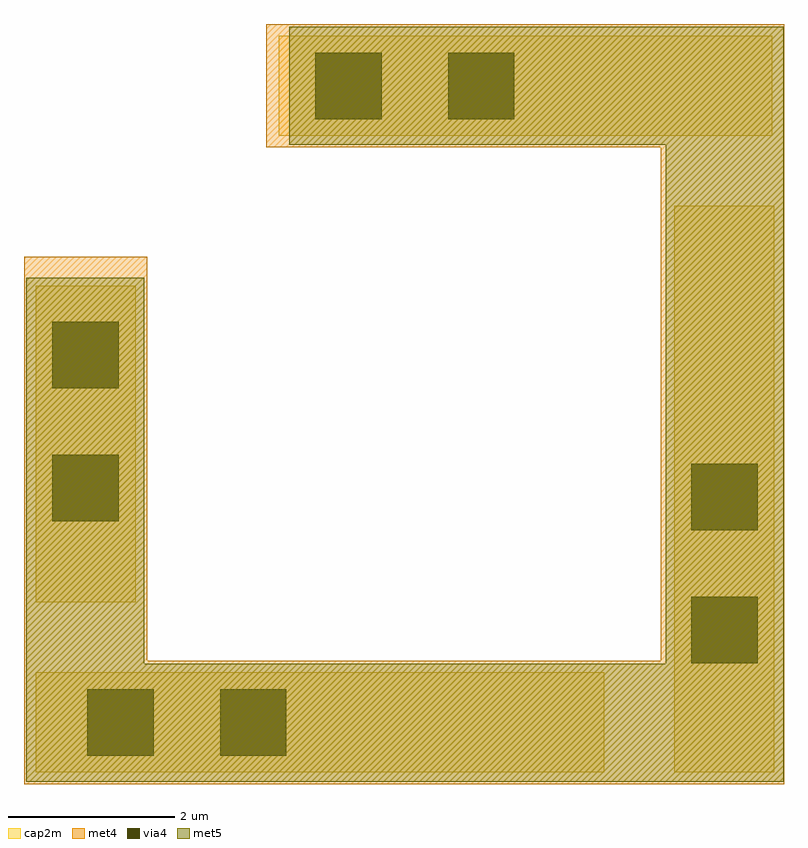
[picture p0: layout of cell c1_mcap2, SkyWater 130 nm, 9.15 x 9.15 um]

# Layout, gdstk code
import gdstk
lib = gdstk.Library(unit=1e-6, precision=1e-09)
def R(c, l, rs):  # rectangles x0, y0, x1, y1
    for r in rs: c.add(gdstk.rectangle(r[:2], r[2:], *l))
met4 = (71, 20)
via4 = (71, 44)
met5 = (72, 20)
cap2m = (97, 44)

c1_mcap2 = lib.new_cell('c1_mcap2')
R(c1_mcap2, met4, [(-3.33,-7.8,5.82,-6.315), (-3.33,-6.36,-1.845,-1.455), (4.335,-6.36,5.82,-0.135), (-0.415,-0.135,5.81,1.35), (-0.405,-0.135,5.82,1.35)])
R(c1_mcap2, via4, [(-2.57,-7.46,-1.77,-6.66), (-0.97,-7.46,-0.17,-6.66), (4.705,-6.345,5.505,-5.545), (4.705,-4.745,5.505,-3.945), (-2.99,-4.635,-2.19,-3.835), (-2.99,-3.035,-2.19,-2.235), (0.175,0.205,0.975,1.005), (1.775,0.205,2.575,1.005)])
R(c1_mcap2, met5, [(-3.3,-7.77,-1.88,-1.705), (-2.88,-7.77,5.815,-6.35), (4.395,-6.655,5.815,-0.105), (-0.135,-0.105,5.815,1.315)])
R(c1_mcap2, cap2m, [(-3.19,-7.66,3.655,-6.455), (4.5,-7.66,5.705,-0.84), (-3.19,-5.61,-1.985,-1.8), (-0.26,0.005,5.68,1.21)])

lib.write_gds('c1_mcap2.gds')
